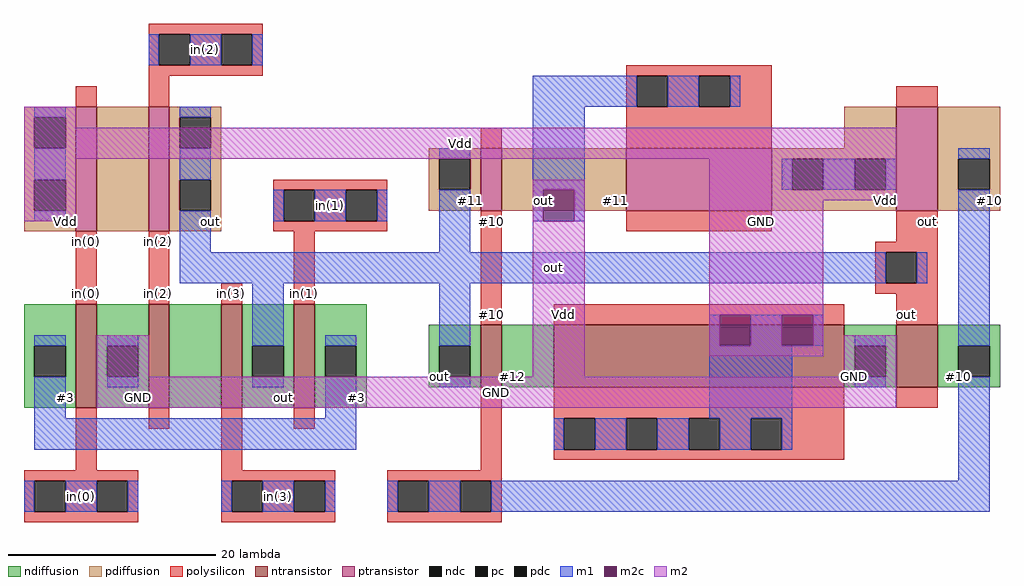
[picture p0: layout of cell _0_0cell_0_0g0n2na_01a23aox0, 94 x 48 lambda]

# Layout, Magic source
magic
tech sky130l
<< ndiffusion >>
rect 8 12 13 16
rect 8 9 9 12
rect 12 9 13 12
rect 8 6 13 9
rect 15 12 20 16
rect 15 9 16 12
rect 19 9 20 12
rect 15 6 20 9
rect 22 6 27 16
rect 29 12 34 16
rect 29 9 30 12
rect 33 9 34 12
rect 29 6 34 9
rect 36 12 41 16
rect 36 9 37 12
rect 40 9 41 12
rect 36 6 41 9
rect 47 12 52 14
rect 47 9 48 12
rect 51 9 52 12
rect 47 8 52 9
rect 54 8 59 14
rect 87 12 92 14
rect 87 9 88 12
rect 91 9 92 12
rect 87 8 92 9
rect 96 12 102 14
rect 96 9 98 12
rect 101 9 102 12
rect 96 8 102 9
<< ndc >>
rect 9 9 12 12
rect 16 9 19 12
rect 30 9 33 12
rect 37 9 40 12
rect 48 9 51 12
rect 88 9 91 12
rect 98 9 101 12
<< ntransistor >>
rect 13 6 15 16
rect 20 6 22 16
rect 27 6 29 16
rect 34 6 36 16
rect 52 8 54 14
rect 59 8 87 14
rect 92 8 96 14
<< pdiffusion >>
rect 8 34 13 35
rect 8 31 9 34
rect 12 31 13 34
rect 8 28 13 31
rect 8 25 9 28
rect 12 25 13 28
rect 8 23 13 25
rect 15 23 20 35
rect 22 34 27 35
rect 22 31 23 34
rect 26 31 27 34
rect 87 31 92 35
rect 22 28 27 31
rect 47 30 52 31
rect 22 25 23 28
rect 26 25 27 28
rect 22 23 27 25
rect 47 27 48 30
rect 51 27 52 30
rect 47 25 52 27
rect 54 25 66 31
rect 80 30 92 31
rect 80 27 82 30
rect 85 27 88 30
rect 91 27 92 30
rect 80 25 92 27
rect 96 30 102 35
rect 96 27 98 30
rect 101 27 102 30
rect 96 25 102 27
<< pdc >>
rect 9 31 12 34
rect 9 25 12 28
rect 23 31 26 34
rect 23 25 26 28
rect 48 27 51 30
rect 82 27 85 30
rect 88 27 91 30
rect 98 27 101 30
<< ptransistor >>
rect 13 23 15 35
rect 20 23 22 35
rect 52 25 54 31
rect 66 25 80 31
rect 92 25 96 35
<< polysilicon >>
rect 20 42 31 43
rect 20 39 21 42
rect 24 39 27 42
rect 30 39 31 42
rect 20 38 31 39
rect 66 38 80 39
rect 13 35 15 37
rect 20 35 22 38
rect 66 35 67 38
rect 70 35 73 38
rect 76 35 80 38
rect 92 35 96 37
rect 52 31 54 33
rect 66 31 80 35
rect 32 27 43 28
rect 32 24 33 27
rect 36 24 39 27
rect 42 24 43 27
rect 32 23 43 24
rect 13 16 15 23
rect 20 16 22 23
rect 27 16 29 18
rect 34 16 36 23
rect 52 14 54 25
rect 66 23 80 25
rect 92 22 96 25
rect 90 21 96 22
rect 90 18 91 21
rect 94 18 96 21
rect 90 17 96 18
rect 59 14 87 16
rect 92 14 96 17
rect 13 0 15 6
rect 20 4 22 6
rect 27 0 29 6
rect 34 4 36 6
rect 52 0 54 8
rect 59 5 87 8
rect 92 6 96 8
rect 59 2 60 5
rect 63 2 66 5
rect 69 2 72 5
rect 75 2 78 5
rect 81 2 87 5
rect 59 1 87 2
rect 8 -1 19 0
rect 8 -4 9 -1
rect 12 -4 15 -1
rect 18 -4 19 -1
rect 8 -5 19 -4
rect 27 -1 38 0
rect 27 -4 28 -1
rect 31 -4 34 -1
rect 37 -4 38 -1
rect 27 -5 38 -4
rect 43 -1 54 0
rect 43 -4 44 -1
rect 47 -4 50 -1
rect 53 -4 54 -1
rect 43 -5 54 -4
<< pc >>
rect 21 39 24 42
rect 27 39 30 42
rect 67 35 70 38
rect 73 35 76 38
rect 33 24 36 27
rect 39 24 42 27
rect 91 18 94 21
rect 60 2 63 5
rect 66 2 69 5
rect 72 2 75 5
rect 78 2 81 5
rect 9 -4 12 -1
rect 15 -4 18 -1
rect 28 -4 31 -1
rect 34 -4 37 -1
rect 44 -4 47 -1
rect 50 -4 53 -1
<< m1 >>
rect 20 39 21 42
rect 24 39 27 42
rect 30 39 31 42
rect 57 35 67 38
rect 70 35 73 38
rect 76 35 77 38
rect 9 34 12 35
rect 9 28 12 31
rect 9 24 12 25
rect 23 34 26 35
rect 23 28 26 31
rect 48 30 51 31
rect 23 21 26 25
rect 32 24 33 27
rect 36 24 39 27
rect 42 24 43 27
rect 48 21 51 27
rect 57 27 62 35
rect 98 30 101 31
rect 81 27 82 30
rect 85 27 88 30
rect 91 27 92 30
rect 57 24 58 27
rect 61 24 62 27
rect 23 18 91 21
rect 94 18 95 21
rect 9 12 12 13
rect 9 5 12 9
rect 16 12 19 13
rect 16 8 19 9
rect 30 12 33 18
rect 30 8 33 9
rect 37 12 40 13
rect 37 5 40 9
rect 48 12 51 18
rect 48 8 51 9
rect 74 12 75 15
rect 78 12 81 15
rect 84 12 85 15
rect 88 12 91 13
rect 74 5 82 12
rect 88 8 91 9
rect 98 12 101 27
rect 9 2 40 5
rect 59 2 60 5
rect 63 2 66 5
rect 69 2 72 5
rect 75 2 78 5
rect 81 2 82 5
rect 98 -1 101 9
rect 8 -4 9 -1
rect 12 -4 15 -1
rect 18 -4 19 -1
rect 27 -4 28 -1
rect 31 -4 34 -1
rect 37 -4 38 -1
rect 43 -4 44 -1
rect 47 -4 50 -1
rect 53 -4 101 -1
<< m2c >>
rect 58 24 61 27
rect 75 12 78 15
rect 81 12 84 15
<< m2 >>
rect 8 33 13 35
rect 8 30 92 33
rect 8 24 13 30
rect 57 27 62 28
rect 57 24 58 27
rect 61 24 62 27
rect 15 9 20 13
rect 57 9 62 24
rect 74 26 92 30
rect 74 15 85 26
rect 74 12 75 15
rect 78 12 81 15
rect 84 12 85 15
rect 74 11 85 12
rect 87 9 92 13
rect 15 6 92 9
<< labels >>
rlabel ndiffusion 12 7 12 7 7 #3
rlabel pdiffusion 12 24 12 24 7 Vdd
rlabel polysilicon 14 17 14 17 7 in(0)
rlabel polysilicon 14 22 14 22 7 in(0)
rlabel ndiffusion 19 7 19 7 7 GND
rlabel polysilicon 21 17 21 17 7 in(2)
rlabel polysilicon 21 22 21 22 7 in(2)
rlabel pdiffusion 26 24 26 24 7 out
rlabel polysilicon 28 17 28 17 7 in(3)
rlabel ndiffusion 33 7 33 7 7 out
rlabel polysilicon 35 17 35 17 7 in(1)
rlabel ndiffusion 40 7 40 7 7 #3
rlabel pdiffusion 91 26 91 26 7 Vdd
rlabel polysilicon 95 24 95 24 7 out
rlabel pdiffusion 51 26 51 26 7 #11
rlabel polysilicon 53 24 53 24 7 #10
rlabel pdiffusion 58 26 58 26 7 out
rlabel pdiffusion 65 26 65 26 7 #11
rlabel polysilicon 79 24 79 24 7 GND
rlabel ndiffusion 48 9 48 9 3 out
rlabel polysilicon 53 15 53 15 3 #10
rlabel ndiffusion 55 9 55 9 3 #12
rlabel polysilicon 60 15 60 15 3 Vdd
rlabel ndiffusion 88 9 88 9 3 GND
rlabel polysilicon 93 15 93 15 3 out
rlabel pdiffusion 101 26 101 26 7 #10
rlabel ndiffusion 98 9 98 9 3 #10
flabel m2 8 30 92 33 0 FreeSans 11 0 0 0 Vdd
port 1 nsew
flabel m2 15 6 92 9 0 FreeSans 11 0 0 0 GND
flabel m1 8 -4 19 -1 0 FreeSans 11 0 0 0 in(0)
port 3 nsew
flabel m1 32 24 43 27 0 FreeSans 11 0 0 0 in(1)
port 4 nsew
flabel m1 20 39 31 42 0 FreeSans 11 0 0 0 in(2)
port 5 nsew
flabel m1 27 -4 38 -1 0 FreeSans 11 0 0 0 in(3)
port 6 nsew
flabel m1 23 18 95 21 0 FreeSans 11 0 0 0 out
port 7 nsew
<< end >>
